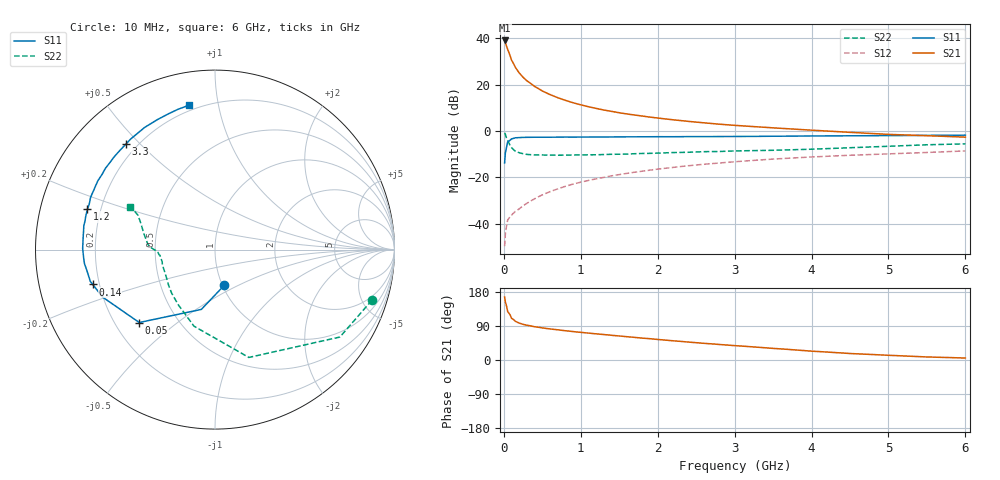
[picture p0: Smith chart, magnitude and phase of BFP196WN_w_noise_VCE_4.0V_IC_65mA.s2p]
! Infineon Technologies  Discrete & RF Semiconductors
! BFP196WN
! VCE =  4.0 V,  IC =  65 mA
! Common Emitter S-Parameters:  Jan 2017
# GHz  S  MA  R  50
!  f  S11  S21  S12  S22
! GHz  MAG  ANG  MAG  ANG  MAG  ANG  MAG  ANG
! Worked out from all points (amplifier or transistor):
!   77 points, 10 MHz to 6 GHz, reference 50 ohm
!   highest |S21| = 39.1 dB at 10 MHz (marker M1)
!   |S21| within 3 dB of that: start of sweep to 40.26 MHz
!   unconditionally stable (mu >= 1): 555.7 MHz to 2.674 GHz
!   at 130 MHz: K = 0.62, MSG = 32.0 dB, |S12| = -35.2 dB
!   at 2.2 GHz: K = 1.02, MAG = 9.4 dB, |S12| = -15.7 dB
!   at 6 GHz: K = 0.92, MSG = 3.0 dB, |S12| = -8.6 dB
!   lowest NFmin = 1.43 dB at 450 MHz
!   S11 on the Smith chart (normalised r, x): 10 MHz: 1.02, -0.42; 50 MHz: 0.30, -0.37; 140 MHz: 0.17, -0.14; 1.2 GHz: 0.15, +0.15; 3.3 GHz: 0.16, +0.45; 6 GHz: 0.17, +0.82
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0.01  0.2056 -75.4  89.99 166.4  0.0033 79.9  0.9186 -17.9
0.02  0.3419 -102.9  81.39 152.9  0.0061 72.2  0.8494 -35.0
0.05  0.5859 -136.1  57.47 127.5  0.0121 52.7  0.6297 -72.6
0.1  0.6799 -157.1  33.85 110.0  0.0154 50.8  0.4422 -105.4
0.14  0.7083 -164.1  25.65 104.2  0.018 52.7  0.3801 -119.6
0.15  0.7169 -165.7  23.66 102.1  0.0186 53.1  0.3689 -123.8
0.2  0.7234 -170.8  17.96 97.4  0.021 58.0  0.3415 -135.3
0.25  0.7315 -173.9  14.49 94.1  0.0246 60.2  0.3255 -142.7
0.3  0.7335 -176.6  12.12 91.7  0.0277 62.0  0.314 -148.7
0.4  0.7374 179.5  9.168 87.7  0.0347 66.2  0.3066 -155.9
0.5  0.737 176.5  7.336 84.7  0.0421 68.0  0.3052 -160.9
0.7  0.7396 171.9  5.252 79.7  0.0567 70.2  0.3019 -167.0
0.9  0.7414 167.6  4.083 75.0  0.072 70.0  0.3053 -170.4
1.1  0.7444 164.1  3.355 71.0  0.0864 69.6  0.3074 -173.2
1.2  0.746 162.3  3.081 69.0  0.0934 69.0  0.3082 -174.2
1.6  0.752 155.9  2.341 61.5  0.1226 67.1  0.3197 -177.3
2.1  0.7562 148.0  1.83 52.5  0.158 63.4  0.3396 180.0
3.1  0.7661 133.0  1.297 36.6  0.2241 54.9  0.3758 175.2
3.3  0.7695 130.2  1.234 33.7  0.2365 53.1  0.3805 173.8
4.1  0.786 118.8  1.025 22.2  0.2814 46.1  0.4128 165.7
5.1  0.8012 108.1  0.838 11.6  0.3271 38.3  0.4775 155.5
6  0.8169 100.3  0.74 5.2  0.3733 32.4  0.5303 153.3
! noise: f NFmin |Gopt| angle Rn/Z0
0.45  1.43  0.56  -176  0.05
0.9  1.55  0.58  -169  0.06
1.9  2.48  0.69  -147  0.18
2.4  3.26  0.7  -139  0.31
